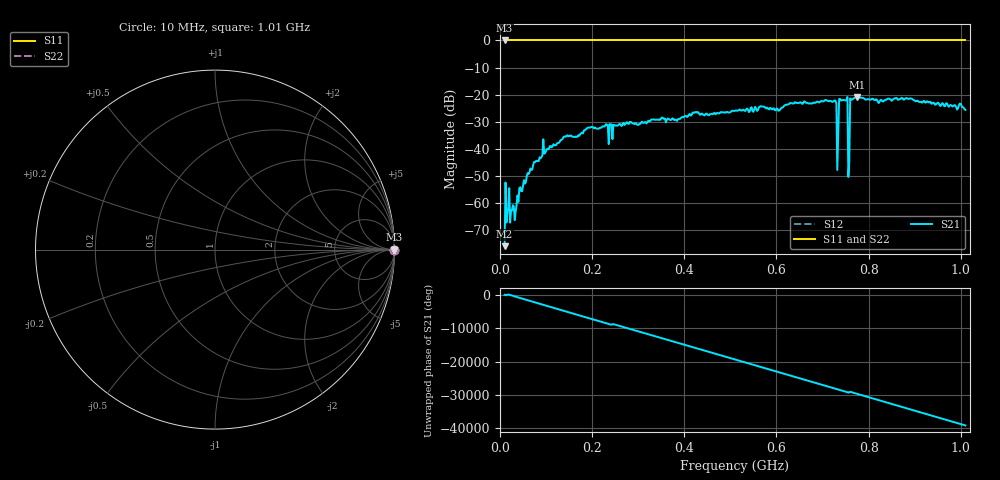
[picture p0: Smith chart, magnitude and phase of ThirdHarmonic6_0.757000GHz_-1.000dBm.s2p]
! 8/16/2025 1:19:00 AM
! C:\ANRITSUVNA\TEMP\TEMP.S2P
! CHANNEL.1
! TR.MEASUREMENT
! RAW.DATA
! RF.CORRECTION.OFF
! AVERAGING.OFF
! IF.BANDWIDTH: 5KHZ
! SWEEPTYPE:  FREQ.SWEEP(Linear)
! Reference Plane Port Info
! PORT:  PORT1  PORT2
! DISTANCE:  0  m  0  m
! TIME:  0  s  0  s
! PHASE.OFFSET:  0  deg.  0  deg.
! LOSS:  0  dB  0  dB
! REF.LOSS:  0  dB  0  dB
! REF.FREQ:  0  Hz  0  Hz
! Power Info
! POWER:  -20  dBm  -20  dBm
! EFF.POWER:  -20  dBm  -20  dBm
! SOURCE.ATTEN:  0  dB  0  dB
! TEST.ATTEN:  0  dB  0  dB
# GHZ S RI R 50.0
! FREQ.GHZ  S11RE  S11IM  S21RE  S21IM  S12RE  S12IM  S22RE  S22IM
!; PortSelection: Port_12
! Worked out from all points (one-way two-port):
!   501 points, 10 MHz to 1.01 GHz, reference 50 ohm
!   highest |S21| = -20.78 dB at 774 MHz (marker M1); lowest = -75.8 dB at 10 MHz (marker M2)
!   lowest |S11| = 0.0 dB at 10 MHz (marker M3)
!   |S11| at or under -10 dB: nowhere
!   |S22| runs from 0.0 to 0.0 dB; largest |S21 - S12| = 1.1
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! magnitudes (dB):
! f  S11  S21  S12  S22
! 10 MHz  0.0  -75.8  0.0  0.0
! 16 MHz  0.0  -63.8  0.0  0.0
! 18 MHz  0.0  -61.7  0.0  0.0
! 32 MHz  0.0  -66.2  0.0  0.0
! 62 MHz  0.0  -49.2  0.0  0.0
! 90 MHz  0.0  -43.0  0.0  0.0
! 142 MHz  0.0  -35.5  0.0  0.0
! 178 MHz  0.0  -34.0  0.0  0.0
! 344 MHz  0.0  -29.3  0.0  0.0
! 510 MHz  0.0  -25.9  0.0  0.0
! 678 MHz  0.0  -23.2  0.0  0.0
! 726 MHz  0.0  -22.1  0.0  0.0
! 730 MHz  0.0  -23.2  0.0  0.0
! 736 MHz  0.0  -21.6  0.0  0.0
! 740 MHz  0.0  -22.1  0.0  0.0
! 750 MHz  0.0  -22.1  0.0  0.0
! 754 MHz  0.0  -20.8  0.0  0.0
! 760 MHz  0.0  -21.3  0.0  0.0
! 764 MHz  0.0  -21.8  0.0  0.0
! 774 MHz  0.0  -20.8  0.0  0.0
! 844 MHz  0.0  -21.5  0.0  0.0
! 1.01 GHz  0.0  -25.6  0.0  0.0
